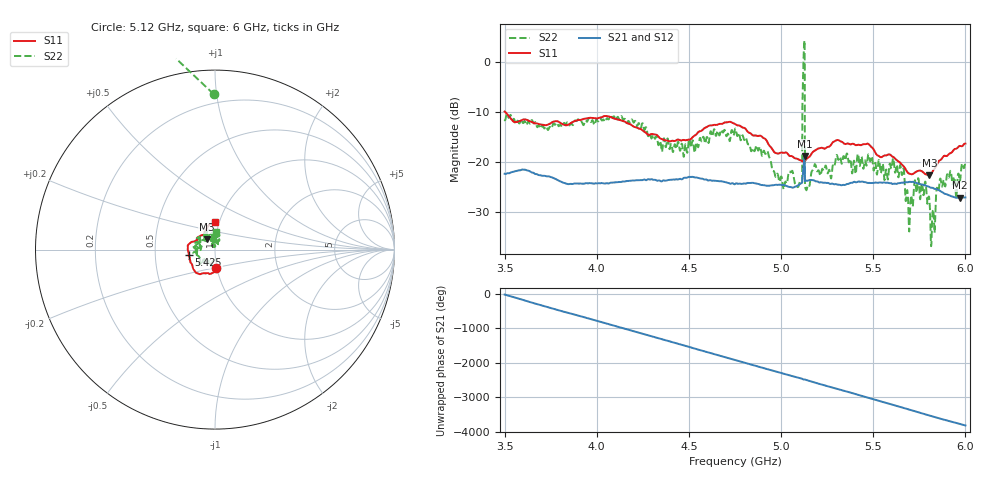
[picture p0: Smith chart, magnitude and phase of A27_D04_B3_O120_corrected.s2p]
! Created with skrf 1.9.0 (http://scikit-rf.org).
# Hz S RI R 50.0
!freq ReS11 ImS11 ReS21 ImS21 ReS12 ImS12 ReS22 ImS22
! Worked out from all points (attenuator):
!   1601 points, 3.5 GHz to 6 GHz, reference 50 ohm
!   highest |S21| = -18.74 dB at 5.128 GHz (marker M1); lowest = -27.1 dB at 5.97 GHz (marker M2)
!   lowest |S11| = -22.6 dB at 5.805 GHz (marker M3), VSWR 1.16, Z = 45.2 + j5.2 ohm
!   |S11| at or under -10 dB: 3.504 GHz to end of sweep
!   |S22| runs from -36.7 to 4.3 dB; largest |S21 - S12| = 0.0011
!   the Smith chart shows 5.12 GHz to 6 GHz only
!   S11 on the Smith chart (normalised r, x): 5.12 GHz: 1.00, -0.20; 5.425 GHz: 0.74, -0.05; 6 GHz: 0.95, +0.30
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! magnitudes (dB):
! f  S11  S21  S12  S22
! 3.5 GHz  -9.9  -22.3  -22.2  -11.5
! 3.917 GHz  -11.5  -24.3  -24.2  -11.9
! 4.334 GHz  -14.9  -23.6  -23.6  -16.6
! 4.75 GHz  -12.4  -24.4  -24.2  -13.4
! 5.088 GHz  -19.3  -24.7  -24.7  -24.8
! 5.102 GHz  -19.5  -24.3  -24.3  -23.9
! 5.116 GHz  -19.8  -23.5  -23.4  -8.8
! 5.12 GHz  -19.8  -21.7  -21.7  -1.2
! 5.128 GHz  -19.7  -18.7  -18.7  4.2
! 5.142 GHz  -19.2  -23.7  -23.6  -25.0
! 5.167 GHz  -18.2  -23.6  -23.5  -21.7
! 5.425 GHz  -16.5  -23.8  -23.8  -20.6
! 5.584 GHz  -18.4  -24.1  -24.1  -21.7
! 5.656 GHz  -20.5  -24.1  -24.0  -22.5
! 5.703 GHz  -22.3  -23.9  -23.9  -27.3
! 5.734 GHz  -21.8  -24.1  -24.0  -26.0
! 5.775 GHz  -22.1  -24.6  -24.5  -26.2
! 5.805 GHz  -22.6  -24.9  -24.9  -27.5
! 5.823 GHz  -21.7  -25.1  -25.0  -29.6
! 5.855 GHz  -19.8  -25.5  -25.5  -25.8
! 5.97 GHz  -16.7  -27.1  -27.0  -23.8
! 6 GHz  -16.3  -27.0  -26.9  -20.1
